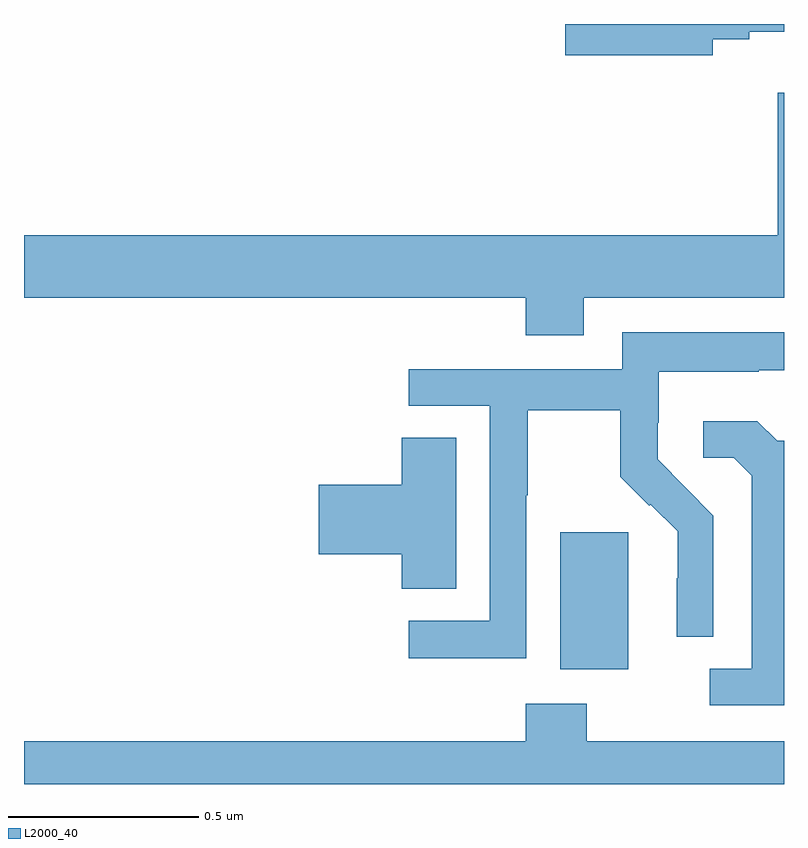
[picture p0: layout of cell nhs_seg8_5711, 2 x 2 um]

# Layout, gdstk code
import gdstk
lib = gdstk.Library(unit=1e-6, precision=1e-09)
def R(c, l, rs):  # rectangles x0, y0, x1, y1
    for r in rs: c.add(gdstk.rectangle(r[:2], r[2:], *l))
def P(c, l, *ps):  # polygons
    for p in ps: c.add(gdstk.Polygon(p, *l))
L2000_40 = (2000, 40)

nhs_seg8_5711 = lib.new_cell('nhs_seg8_5711')
R(nhs_seg8_5711, L2000_40, [(188.411,1102.202,188.59,1102.563)])
P(nhs_seg8_5711, L2000_40, [(188.812,1103.86),(188.908,1103.86),(188.908,1103.879),(189,1103.879),(189,1103.9),(188.424,1103.9),(188.424,1103.818),(188.812,1103.818)],
  [(188.473,1103.18),(189,1103.18),(189,1103.719),(188.984,1103.719),(188.984,1103.344),(187,1103.344),(187,1103.18),(188.321,1103.18),(188.321,1103.081),(188.473,1103.081)],
  [(188.322,1102.66),(188.325,1102.66),(188.325,1102.884),(188.569,1102.884),(188.569,1102.709),(188.646,1102.632),(188.649,1102.635),(188.72,1102.565),(188.72,1102.442),(188.718,1102.442),(188.718,1102.288),(188.814,1102.288),(188.814,1102.606),(188.741,1102.679),(188.742,1102.68),(188.668,1102.754),(188.668,1102.851),(188.67,1102.851),(188.67,1102.985),(188.933,1102.985),(188.933,1102.989),(189,1102.989),(189,1103.089),(188.574,1103.089),(188.574,1102.992),(188.013,1102.992),(188.013,1102.896),(188.226,1102.896),(188.226,1102.329),(188.013,1102.329),(188.013,1102.231),(188.322,1102.231)],
  [(189,1102.803),(188.982,1102.803),(188.93,1102.855),(188.787,1102.855),(188.787,1102.758),(188.868,1102.758),(188.915,1102.711),(188.915,1102.203),(188.805,1102.203),(188.805,1102.107),(189,1102.107)],
  [(188.137,1102.811),(187.994,1102.811),(187.994,1102.688),(187.776,1102.688),(187.776,1102.505),(187.994,1102.505),(187.994,1102.414),(188.137,1102.414)],
  [(189,1102.012),(188.481,1102.012),(188.481,1102.111),(188.321,1102.111),(188.321,1102.012),(187,1102.012),(187,1101.9),(189,1101.9)])

lib.write_gds('nhs_seg8_5711.gds')
